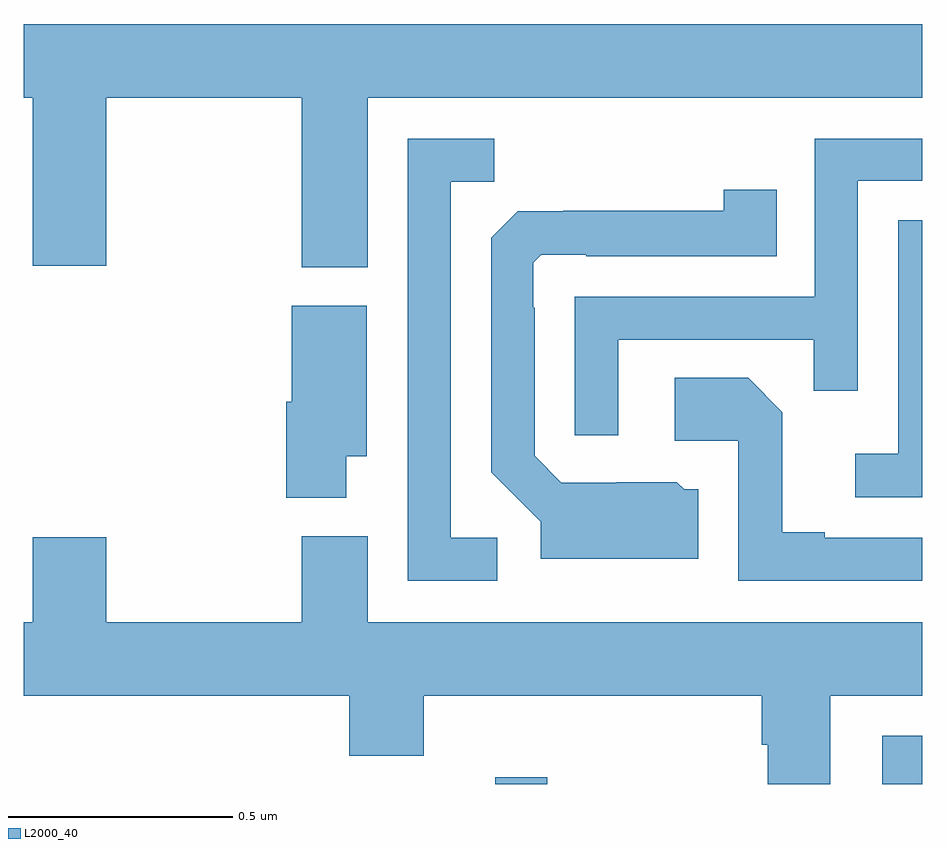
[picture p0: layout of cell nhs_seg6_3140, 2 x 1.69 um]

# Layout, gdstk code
import gdstk
lib = gdstk.Library(unit=1e-6, precision=1e-09)
def R(c, l, rs):  # rectangles x0, y0, x1, y1
    for r in rs: c.add(gdstk.rectangle(r[:2], r[2:], *l))
def P(c, l, *ps):  # polygons
    for p in ps: c.add(gdstk.Polygon(p, *l))
L2000_40 = (2000, 40)

nhs_seg6_3140 = lib.new_cell('nhs_seg6_3140')
R(nhs_seg6_3140, L2000_40, [(154.05,920.5,154.165,920.515), (154.911,920.5,155,920.607)])
P(nhs_seg6_3140, L2000_40, [(153.766,922.028),(155,922.028),(155,922.192),(153,922.192),(153,922.028),(153.02,922.028),(153.02,921.654),(153.184,921.654),(153.184,922.028),(153.619,922.028),(153.619,921.65),(153.766,921.65)],
  [(154.054,921.048),(153.951,921.048),(153.951,921.841),(154.047,921.841),(154.047,921.936),(153.855,921.936),(153.855,920.952),(154.054,920.952)],
  [(154.323,921.489),(154.759,921.489),(154.759,921.376),(154.857,921.376),(154.857,921.843),(155,921.843),(155,921.936),(154.761,921.936),(154.761,921.585),(154.227,921.585),(154.227,921.276),(154.323,921.276)],
  [(154.501,921.156),(154.47,921.156),(154.454,921.172),(154.32,921.172),(154.32,921.171),(154.197,921.171),(154.137,921.231),(154.137,921.56),(154.134,921.56),(154.134,921.66),(154.152,921.678),(154.252,921.678),(154.252,921.675),(154.676,921.675),(154.676,921.823),(154.558,921.823),(154.558,921.776),(154.201,921.776),(154.201,921.775),(154.1,921.775),(154.041,921.716),(154.041,921.194),(154.151,921.084),(154.151,921.002),(154.501,921.002)],
  [(155,921.755),(154.947,921.755),(154.947,921.235),(154.851,921.235),(154.851,921.138),(155,921.138)],
  [(153.718,921.23),(153.763,921.23),(153.763,921.565),(153.596,921.565),(153.596,921.351),(153.584,921.351),(153.584,921.137),(153.718,921.137)],
  [(155,921.048),(154.783,921.048),(154.783,921.061),(154.689,921.061),(154.689,921.328),(154.613,921.404),(154.449,921.404),(154.449,921.264),(154.59,921.264),(154.59,920.952),(155,920.952)],
  [(154.795,920.696),(155,920.696),(155,920.86),(153.766,920.86),(153.766,921.052),(153.619,921.052),(153.619,920.86),(153.184,920.86),(153.184,921.049),(153.02,921.049),(153.02,920.86),(153,920.86),(153,920.696),(153.725,920.696),(153.725,920.563),(153.89,920.563),(153.89,920.696),(154.643,920.696),(154.643,920.587),(154.656,920.587),(154.656,920.5),(154.795,920.5)])

lib.write_gds('nhs_seg6_3140.gds')
